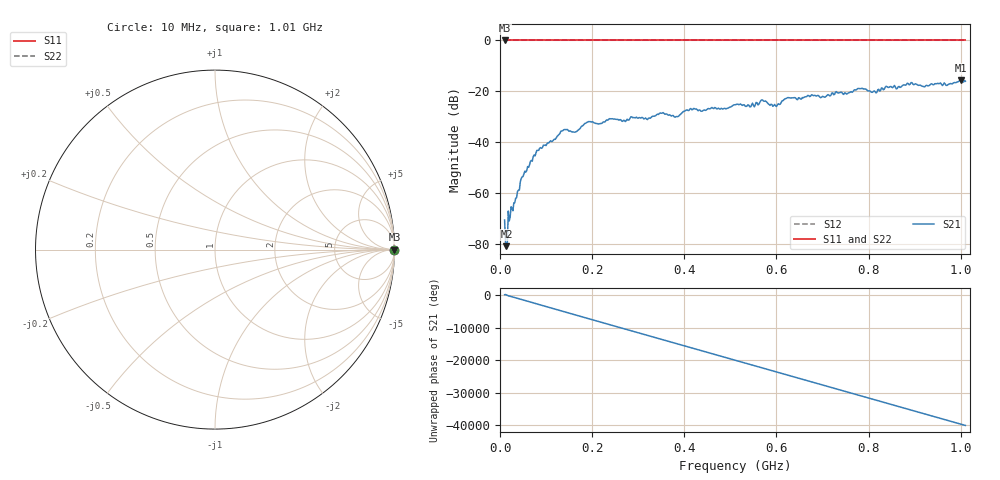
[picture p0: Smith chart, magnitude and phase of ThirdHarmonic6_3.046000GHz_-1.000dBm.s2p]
! 8/17/2025 8:50:12 AM
! C:\ANRITSUVNA\TEMP\TEMP.S2P
! CHANNEL.1
! TR.MEASUREMENT
! RAW.DATA
! RF.CORRECTION.OFF
! AVERAGING.OFF
! IF.BANDWIDTH: 5KHZ
! SWEEPTYPE:  FREQ.SWEEP(Linear)
! Reference Plane Port Info
! PORT:  PORT1  PORT2
! DISTANCE:  0  m  0  m
! TIME:  0  s  0  s
! PHASE.OFFSET:  0  deg.  0  deg.
! LOSS:  0  dB  0  dB
! REF.LOSS:  0  dB  0  dB
! REF.FREQ:  0  Hz  0  Hz
! Power Info
! POWER:  -20  dBm  -20  dBm
! EFF.POWER:  -20  dBm  -20  dBm
! SOURCE.ATTEN:  0  dB  0  dB
! TEST.ATTEN:  0  dB  0  dB
# GHZ S RI R 50.0
! FREQ.GHZ  S11RE  S11IM  S21RE  S21IM  S12RE  S12IM  S22RE  S22IM
!; PortSelection: Port_12
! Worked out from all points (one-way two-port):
!   501 points, 10 MHz to 1.01 GHz, reference 50 ohm
!   highest |S21| = -15.68 dB at 1 GHz (marker M1); lowest = -81.0 dB at 14 MHz (marker M2)
!   lowest |S11| = 0.0 dB at 10 MHz (marker M3)
!   |S11| at or under -10 dB: nowhere
!   |S22| runs from 0.0 to 0.0 dB; largest |S21 - S12| = 1.2
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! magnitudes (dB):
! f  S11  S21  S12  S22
! 10 MHz  0.0  -70.8  0.0  0.0
! 14 MHz  0.0  -81.0  0.0  0.0
! 16 MHz  0.0  -79.5  0.0  0.0
! 22 MHz  0.0  -69.7  0.0  0.0
! 48 MHz  0.0  -53.8  0.0  0.0
! 76 MHz  0.0  -45.5  0.0  0.0
! 136 MHz  0.0  -35.6  0.0  0.0
! 162 MHz  0.0  -36.1  0.0  0.0
! 178 MHz  0.0  -33.7  0.0  0.0
! 344 MHz  0.0  -29.1  0.0  0.0
! 382 MHz  0.0  -30.0  0.0  0.0
! 416 MHz  0.0  -27.3  0.0  0.0
! 510 MHz  0.0  -25.3  0.0  0.0
! 570 MHz  0.0  -23.5  0.0  0.0
! 596 MHz  0.0  -25.2  0.0  0.0
! 622 MHz  0.0  -22.8  0.0  0.0
! 678 MHz  0.0  -21.5  0.0  0.0
! 780 MHz  0.0  -18.9  0.0  0.0
! 814 MHz  0.0  -20.2  0.0  0.0
! 844 MHz  0.0  -18.5  0.0  0.0
! 1 GHz  0.0  -15.7  0.0  0.0
! 1.01 GHz  0.0  -16.1  0.0  0.0
